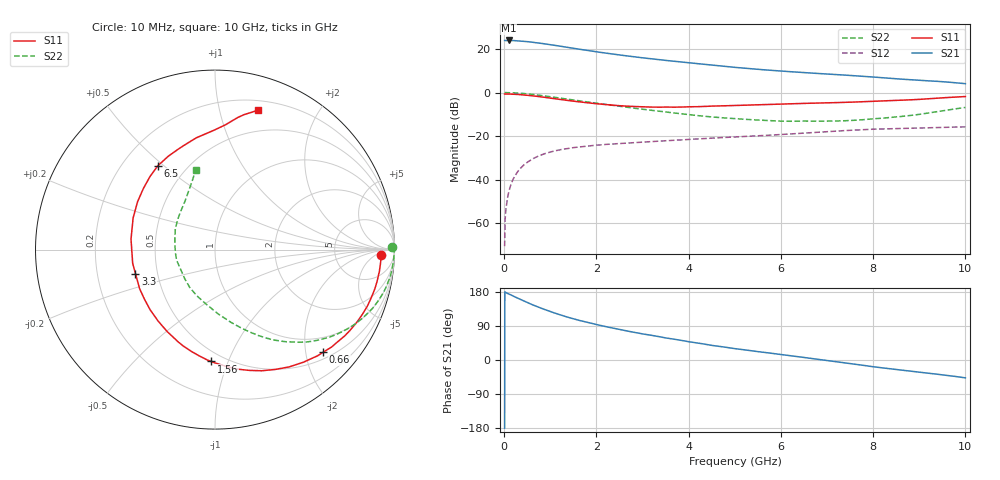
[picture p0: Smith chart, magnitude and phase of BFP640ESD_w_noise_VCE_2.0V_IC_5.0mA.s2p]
! Infineon Technologies  Discrete & RF Semiconductors
! BFP640ESD
! VCE =  2.0 V,  IC =  5.0 mA
! Common Emitter S-Parameters:  Jan 2016
# GHz  S  MA  R  50
!  f  S11  S21  S12  S22
! GHz  MAG  ANG  MAG  ANG  MAG  ANG  MAG  ANG
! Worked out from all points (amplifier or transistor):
!   233 points, 10 MHz to 10 GHz, reference 50 ohm
!   highest |S21| = 23.9 dB at 100 MHz (marker M1)
!   |S21| within 3 dB of that: start of sweep to 1.324 GHz
!   unconditionally stable (mu >= 1): 4.714 GHz to 9.118 GHz
!   at 200 MHz: K = 0.06, MSG = 31.7 dB, |S12| = -39.5 dB
!   at 1.74 GHz: K = 0.46, MSG = 22.1 dB, |S12| = -24.7 dB
!   at 10 GHz: K = 0.84, MSG = 9.9 dB, |S12| = -15.7 dB
!   lowest NFmin = 0.58 dB at 450 MHz
!   S11 on the Smith chart (normalised r, x): 10 MHz: 23, -9; 660 MHz: 0.64, -2.36; 1.56 GHz: 0.43, -0.87; 3.3 GHz: 0.37, -0.13; 6.5 GHz: 0.35, +0.48; 10 GHz: 0.29, +1.31
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0.01  0.9273 -1.8  15.65 -179.9  0.0003 -133.7  0.9887 0.7
0.02  0.9275 -1.6  15.59 179.4  0.0012 93.9  0.9991 -0.7
0.03  0.9268 -2.3  15.59 178.6  0.0017 89.3  0.9986 -1.2
0.1  0.9248 -6.8  15.67 174.4  0.0052 86.4  0.9959 -4.2
0.34  0.8986 -23.0  15.3 160.6  0.0176 76.6  0.9681 -14.3
0.5  0.8684 -33.5  14.77 151.8  0.0251 70.7  0.9358 -20.6
0.66  0.8309 -43.5  14.1 143.5  0.0318 65.2  0.8954 -26.4
0.88  0.7775 -56.5  13.1 133.1  0.0396 58.6  0.8367 -33.6
1.08  0.7278 -67.8  12.18 124.5  0.0455 53.6  0.7811 -39.5
1.56  0.6237 -91.9  10.13 106.8  0.0556 44.4  0.6601 -51.2
1.68  0.6021 -97.5  9.688 102.9  0.0576 42.6  0.6339 -53.7
2  0.5545 -111.5  8.613 93.6  0.0621 38.9  0.5723 -59.6
2.4  0.5087 -128.6  7.533 82.9  0.067 35.2  0.5013 -66.8
2.84  0.4782 -146.5  6.563 72.5  0.0716 32.1  0.4345 -74.8
3.3  0.4628 -163.2  5.767 62.9  0.0764 29.6  0.38 -83.0
3.4  0.463 -166.9  5.616 60.7  0.0774 29.2  0.3694 -85.0
4  0.4716 172.9  4.839 48.3  0.0844 26.5  0.3127 -97.9
5.1  0.5098 146.4  3.709 28.6  0.0969 21.1  0.2485 -126.2
6.5  0.5657 124.2  2.874 6.6  0.1174 14.5  0.222 -164.7
6.8  0.5743 119.5  2.743 1.9  0.1229 12.5  0.2206 -172.3
8.4  0.6525 93.2  2.108 -23.6  0.1483 -1.9  0.2696 139.5
10  0.811 73.0  1.601 -47.1  0.1637 -15.5  0.456 103.6
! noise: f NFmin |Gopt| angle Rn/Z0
0.45  0.58  0.41  10  0.14
0.9  0.6  0.39  22  0.13
1.9  0.67  0.31  47  0.12
2.4  0.72  0.27  62  0.11
5.5  1.09  0.34  -144  0.08
10  2.11  0.63  -83  0.89
